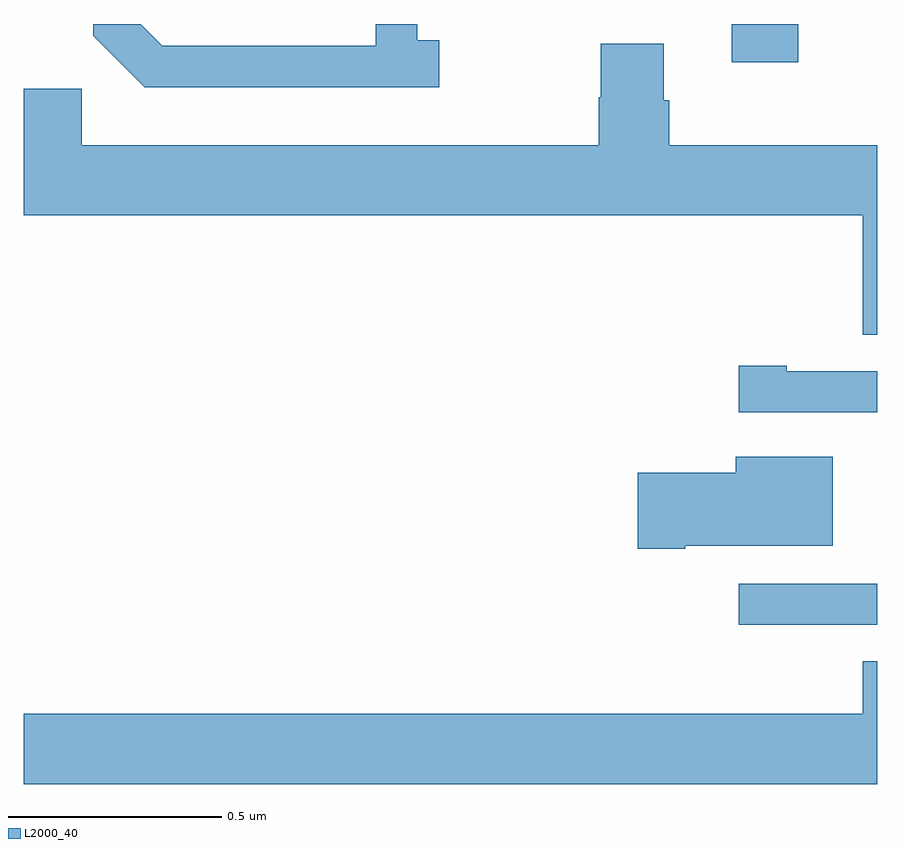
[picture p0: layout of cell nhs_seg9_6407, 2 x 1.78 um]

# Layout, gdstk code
import gdstk
lib = gdstk.Library(unit=1e-6, precision=1e-09)
def R(c, l, rs):  # rectangles x0, y0, x1, y1
    for r in rs: c.add(gdstk.rectangle(r[:2], r[2:], *l))
def P(c, l, *ps):  # polygons
    for p in ps: c.add(gdstk.Polygon(p, *l))
L2000_40 = (2000, 40)

nhs_seg9_6407 = lib.new_cell('nhs_seg9_6407')
R(nhs_seg9_6407, L2000_40, [(192.675,1230.093,193,1230.189), (192.659,1231.41,192.815,1231.5)])
P(nhs_seg9_6407, L2000_40, [(191.974,1231.462),(191.922,1231.462),(191.922,1231.5),(191.825,1231.5),(191.825,1231.449),(191.325,1231.449),(191.274,1231.5),(191.163,1231.5),(191.163,1231.473),(191.284,1231.352),(191.974,1231.352)],
  [(193,1231.216),(192.512,1231.216),(192.512,1231.322),(192.499,1231.322),(192.499,1231.454),(192.352,1231.454),(192.352,1231.329),(192.347,1231.329),(192.347,1231.216),(191.136,1231.216),(191.136,1231.348),(191,1231.348),(191,1231.052),(192.965,1231.052),(192.965,1230.772),(193,1230.772)],
  [(193,1230.687),(192.787,1230.687),(192.787,1230.7),(192.675,1230.7),(192.675,1230.591),(193,1230.591)],
  [(192.55,1230.278),(192.895,1230.278),(192.895,1230.487),(192.668,1230.487),(192.668,1230.449),(192.438,1230.449),(192.438,1230.271),(192.55,1230.271)],
  [(193,1230.008),(192.965,1230.008),(192.965,1229.884),(191,1229.884),(191,1229.72),(193,1229.72)])

lib.write_gds('nhs_seg9_6407.gds')
